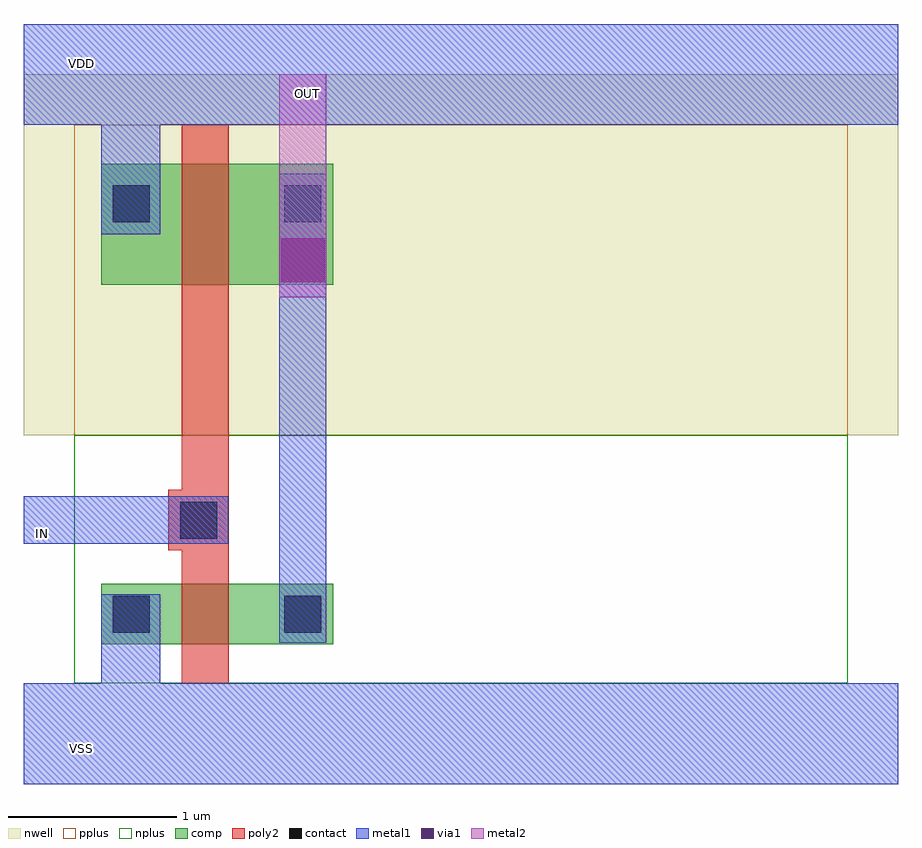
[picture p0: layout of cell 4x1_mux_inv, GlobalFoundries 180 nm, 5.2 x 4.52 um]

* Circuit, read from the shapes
.subckt 4x1_mux_inv IN OUT VDD VSS
XM1 OUT IN VSS VSUBS nfet_03v3 w=0.36u l=0.28u
XM2 OUT IN VDD n1 pfet_03v3 w=0.72u l=0.28u
.ends

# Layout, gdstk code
import gdstk
lib = gdstk.Library(unit=1e-6, precision=5e-09)
def R(c, l, rs):  # rectangles x0, y0, x1, y1
    for r in rs: c.add(gdstk.rectangle(r[:2], r[2:], *l))
nwell = (21, 0)
comp = (22, 0)
poly2 = (30, 0)
pplus = (31, 0)
nplus = (32, 0)
contact = (33, 0)
metal1 = (34, 0)
via1 = (35, 0)
metal2 = (36, 0)

c_4x1_mux_inv = lib.new_cell('4x1_mux_inv')
R(c_4x1_mux_inv, nwell, [(5.61,-2.75,10.81,-0.605)])
R(c_4x1_mux_inv, comp, [(6.07,-3.995,7.45,-3.635), (6.07,-1.855,7.45,-1.135)])
R(c_4x1_mux_inv, poly2, [(6.55,-4.225,6.83,-0.905), (6.47,-3.435,6.83,-3.075)])
R(c_4x1_mux_inv, pplus, [(5.91,-2.75,10.51,-0.905)])
R(c_4x1_mux_inv, nplus, [(5.91,-4.225,10.51,-2.75)])
R(c_4x1_mux_inv, contact, [(6.14,-3.925,6.36,-3.705), (7.16,-3.925,7.38,-3.705), (6.54,-3.365,6.76,-3.145), (6.14,-1.485,6.36,-1.265), (7.16,-1.485,7.38,-1.265)])
R(c_4x1_mux_inv, metal1, [(5.61,-4.825,10.81,-4.225), (6.07,-4.225,6.42,-3.695), (7.13,-3.985,7.41,-1.195), (5.61,-3.395,6.825,-3.115), (6.07,-1.555,6.42,-0.905), (5.61,-0.905,10.81,-0.305)])
R(c_4x1_mux_inv, via1, [(7.14,-1.84,7.4,-1.58)])
R(c_4x1_mux_inv, metal2, [(7.13,-1.93,7.41,-0.605)])
c_4x1_mux_inv.add(gdstk.Label('IN', (5.72,-3.335), layer=34, texttype=10))
c_4x1_mux_inv.add(gdstk.Label('VDD', (5.95,-0.54), layer=34, texttype=10))
c_4x1_mux_inv.add(gdstk.Label('VSS', (5.95,-4.615), layer=34, texttype=10))
c_4x1_mux_inv.add(gdstk.Label('OUT', (7.295,-0.72), layer=36, texttype=10))

lib.write_gds('4x1_mux_inv.gds')
